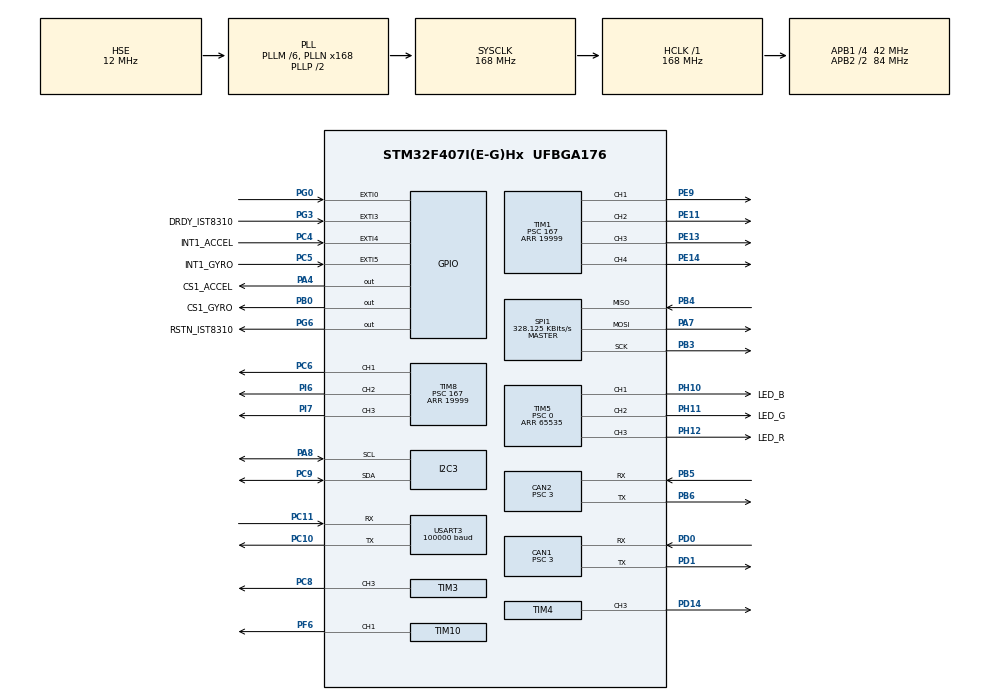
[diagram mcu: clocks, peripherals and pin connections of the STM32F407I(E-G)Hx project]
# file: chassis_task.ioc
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CAN1.BS1=CAN_BS1_10TQ
CAN1.BS2=CAN_BS2_3TQ
CAN1.CalculateBaudRate=1000000
CAN1.CalculateTimeBit=999.99
CAN1.CalculateTimeQuantum=71.42857142857143
CAN1.Prescaler=3
CAN2.BS1=CAN_BS1_10TQ
CAN2.BS2=CAN_BS2_3TQ
CAN2.CalculateBaudRate=1000000
CAN2.CalculateTimeBit=999.99
CAN2.CalculateTimeQuantum=71.42857142857143
CAN2.Prescaler=3
Dma.Request0=SPI1_RX
Dma.Request1=SPI1_TX
Dma.Request2=USART3_RX
Dma.SPI1_RX.0.Direction=DMA_PERIPH_TO_MEMORY
Dma.SPI1_RX.0.FIFOMode=DMA_FIFOMODE_DISABLE
Dma.SPI1_RX.0.Instance=DMA2_Stream2
Dma.SPI1_RX.0.MemDataAlignment=DMA_MDATAALIGN_BYTE
Dma.SPI1_RX.0.MemInc=DMA_MINC_ENABLE
Dma.SPI1_RX.0.Mode=DMA_NORMAL
Dma.SPI1_RX.0.PeriphDataAlignment=DMA_PDATAALIGN_BYTE
Dma.SPI1_RX.0.PeriphInc=DMA_PINC_DISABLE
Dma.SPI1_RX.0.Priority=DMA_PRIORITY_VERY_HIGH
Dma.SPI1_TX.1.Direction=DMA_MEMORY_TO_PERIPH
Dma.SPI1_TX.1.FIFOMode=DMA_FIFOMODE_DISABLE
Dma.SPI1_TX.1.Instance=DMA2_Stream3
Dma.SPI1_TX.1.MemDataAlignment=DMA_MDATAALIGN_BYTE
Dma.SPI1_TX.1.MemInc=DMA_MINC_ENABLE
Dma.SPI1_TX.1.Mode=DMA_NORMAL
Dma.SPI1_TX.1.PeriphDataAlignment=DMA_PDATAALIGN_BYTE
Dma.SPI1_TX.1.PeriphInc=DMA_PINC_DISABLE
Dma.SPI1_TX.1.Priority=DMA_PRIORITY_HIGH
Dma.USART3_RX.2.Direction=DMA_PERIPH_TO_MEMORY
Dma.USART3_RX.2.FIFOMode=DMA_FIFOMODE_DISABLE
Dma.USART3_RX.2.Instance=DMA1_Stream1
Dma.USART3_RX.2.MemDataAlignment=DMA_MDATAALIGN_BYTE
Dma.USART3_RX.2.MemInc=DMA_MINC_ENABLE
Dma.USART3_RX.2.Mode=DMA_NORMAL
Dma.USART3_RX.2.PeriphDataAlignment=DMA_PDATAALIGN_BYTE
Dma.USART3_RX.2.PeriphInc=DMA_PINC_DISABLE
Dma.USART3_RX.2.Priority=DMA_PRIORITY_HIGH
FREERTOS.INCLUDE_eTaskGetState=1
FREERTOS.INCLUDE_pcTaskGetTaskName=1
FREERTOS.INCLUDE_uxTaskGetStackHighWaterMark=1
FREERTOS.INCLUDE_vTaskCleanUpResources=1
FREERTOS.INCLUDE_vTaskDelayUntil=1
FREERTOS.INCLUDE_xEventGroupSetBitFromISR=1
FREERTOS.INCLUDE_xQueueGetMutexHolder=1
FREERTOS.INCLUDE_xSemaphoreGetMutexHolder=1
FREERTOS.INCLUDE_xTaskAbortDelay=1
FREERTOS.INCLUDE_xTaskGetCurrentTaskHandle=1
FREERTOS.INCLUDE_xTaskGetHandle=1
FREERTOS.INCLUDE_xTimerPendFunctionCall=1
FREERTOS.Tasks01=test,24,128,test_task,As weak,NULL,Dynamic,NULL,NULL
FREERTOS.configTOTAL_HEAP_SIZE=24576
I2C3.I2C_Mode=I2C_Fast
Mcu.Family=STM32F4
Mcu.Name=STM32F407I(E-G)Hx
Mcu.Package=UFBGA176
NVIC.CAN1_RX0_IRQn=true\:6\:0\:true\:false\:true\:true\:true\:true
NVIC.CAN2_RX0_IRQn=true\:6\:0\:true\:false\:true\:true\:true\:true
NVIC.DMA1_Stream1_IRQn=true\:5\:0\:true\:false\:false\:true\:false\:false
NVIC.DMA2_Stream2_IRQn=true\:5\:0\:true\:false\:false\:true\:false\:true
NVIC.DMA2_Stream3_IRQn=true\:5\:0\:true\:false\:false\:true\:false\:true
NVIC.EXTI0_IRQn=true\:6\:0\:true\:false\:true\:true\:true\:true
NVIC.EXTI3_IRQn=true\:5\:0\:true\:false\:true\:true\:true\:true
NVIC.EXTI4_IRQn=true\:5\:0\:true\:false\:true\:true\:true\:true
NVIC.EXTI9_5_IRQn=true\:5\:0\:true\:false\:true\:true\:true\:true
NVIC.PriorityGroup=NVIC_PRIORITYGROUP_4
NVIC.USART3_IRQn=true\:4\:0\:true\:false\:false\:false\:true\:true
PA13.Mode=Serial_Wire
PA13.Signal=SYS_JTMS-SWDIO
PA14.Mode=Serial_Wire
PA14.Signal=SYS_JTCK-SWCLK
PA4.GPIO_Label=CS1_ACCEL
PA4.GPIO_PuPd=GPIO_PULLUP
PA4.GPIO_Speed=GPIO_SPEED_FREQ_HIGH
PA4.PinState=GPIO_PIN_SET
PA4.Signal=GPIO_Output
PA7.GPIO_PuPd=GPIO_PULLUP
PA7.Mode=Full_Duplex_Master
PA7.Signal=SPI1_MOSI
PA8.Mode=I2C
PA8.Signal=I2C3_SCL
PB0.GPIO_Label=CS1_GYRO
PB0.GPIO_PuPd=GPIO_PULLUP
PB0.GPIO_Speed=GPIO_SPEED_FREQ_HIGH
PB0.PinState=GPIO_PIN_SET
PB0.Signal=GPIO_Output
PB3.GPIO_PuPd=GPIO_PULLUP
PB3.Mode=Full_Duplex_Master
PB3.Signal=SPI1_SCK
PB4.GPIO_PuPd=GPIO_PULLUP
PB4.Mode=Full_Duplex_Master
PB4.Signal=SPI1_MISO
PB5.Mode=CAN_Activate
PB5.Signal=CAN2_RX
PB6.Mode=CAN_Activate
PB6.Signal=CAN2_TX
PC10.Mode=Asynchronous
PC10.Signal=USART3_TX
PC11.Mode=Asynchronous
PC11.Signal=USART3_RX
PC4.GPIO_Label=INT1_ACCEL
PC4.GPIO_ModeDefaultEXTI=GPIO_MODE_IT_FALLING
PC4.GPIO_PuPd=GPIO_PULLUP
PC4.Signal=GPXTI4
PC5.GPIO_Label=INT1_GYRO
PC5.GPIO_ModeDefaultEXTI=GPIO_MODE_IT_FALLING
PC5.GPIO_PuPd=GPIO_PULLUP
PC5.Signal=GPXTI5
PC6.Signal=S_TIM8_CH1
PC8.GPIO_PuPd=GPIO_PULLUP
PC8.GPIO_Speed=GPIO_SPEED_FREQ_HIGH
PC8.Signal=S_TIM3_CH3
PC9.Mode=I2C
PC9.Signal=I2C3_SDA
PD0.Mode=CAN_Activate
PD0.Signal=CAN1_RX
PD1.Mode=CAN_Activate
PD1.Signal=CAN1_TX
PD14.GPIO_PuPd=GPIO_PULLUP
PD14.GPIO_Speed=GPIO_SPEED_FREQ_HIGH
PD14.Signal=S_TIM4_CH3
PE11.Signal=S_TIM1_CH2
PE13.Signal=S_TIM1_CH3
PE14.Signal=S_TIM1_CH4
PE9.Signal=S_TIM1_CH1
PF6.GPIO_PuPd=GPIO_PULLUP
PF6.GPIO_Speed=GPIO_SPEED_FREQ_HIGH
PF6.Signal=S_TIM10_CH1
PG0.GPIO_ModeDefaultEXTI=GPIO_MODE_IT_FALLING
PG0.GPIO_PuPd=GPIO_PULLUP
PG0.Signal=GPXTI0
PG3.GPIO_Label=DRDY_IST8310
PG3.GPIO_ModeDefaultEXTI=GPIO_MODE_IT_FALLING
PG3.GPIO_PuPd=GPIO_PULLUP
PG3.Signal=GPXTI3
PG6.GPIO_Label=RSTN_IST8310
PG6.GPIO_PuPd=GPIO_PULLUP
PG6.GPIO_Speed=GPIO_SPEED_FREQ_MEDIUM
PG6.PinState=GPIO_PIN_SET
PG6.Signal=GPIO_Output
PH0-OSC_IN.Mode=HSE-External-Oscillator
PH0-OSC_IN.Signal=RCC_OSC_IN
PH1-OSC_OUT.Mode=HSE-External-Oscillator
PH1-OSC_OUT.Signal=RCC_OSC_OUT
PH10.GPIO_Label=LED_B
PH10.GPIO_PuPd=GPIO_PULLUP
PH10.GPIO_Speed=GPIO_SPEED_FREQ_HIGH
PH10.Signal=S_TIM5_CH1
PH11.GPIO_Label=LED_G
PH11.GPIO_PuPd=GPIO_PULLUP
PH11.GPIO_Speed=GPIO_SPEED_FREQ_HIGH
PH11.Signal=S_TIM5_CH2
PH12.GPIO_Label=LED_R
PH12.GPIO_PuPd=GPIO_PULLUP
PH12.GPIO_Speed=GPIO_SPEED_FREQ_HIGH
PH12.Signal=S_TIM5_CH3
PI6.Signal=S_TIM8_CH2
PI7.Signal=S_TIM8_CH3
ProjectManager.HeapSize=0x2000
ProjectManager.StackSize=0x2000
ProjectManager.TargetToolchain=MDK-ARM V5
RCC.48MHZClocksFreq_Value=48000000
RCC.AHBFreq_Value=168000000
RCC.APB1CLKDivider=RCC_HCLK_DIV4
RCC.APB1Freq_Value=42000000
RCC.APB1TimFreq_Value=84000000
RCC.APB2CLKDivider=RCC_HCLK_DIV2
RCC.APB2Freq_Value=84000000
RCC.APB2TimFreq_Value=168000000
RCC.CortexFreq_Value=168000000
RCC.HCLKFreq_Value=168000000
RCC.HSE_VALUE=12000000
RCC.HSI_VALUE=16000000
RCC.LSE_VALUE=32768
RCC.PLLM=6
RCC.PLLN=168
RCC.PLLQ=7
RCC.PLLSourceVirtual=RCC_PLLSOURCE_HSE
RCC.RCC_RTC_Clock_SourceVirtual=RCC_RTCCLKSOURCE_HSE_DIV30
RCC.RCC_RTC_Clock_Source_FROM_HSE=RCC_RTCCLKSOURCE_HSE_DIV30
RCC.SYSCLKFreq_VALUE=168000000
RCC.SYSCLKSource=RCC_SYSCLKSOURCE_PLLCLK
RCC.VCOOutputFreq_Value=336000000
RTC.AsynchPrediv=124
RTC.SynchPrediv=3199
SH.S_TIM10_CH1.0=TIM10_CH1,PWM Generation1 CH1
SH.S_TIM1_CH1.0=TIM1_CH1,PWM Generation1 CH1
SH.S_TIM1_CH2.0=TIM1_CH2,PWM Generation2 CH2
SH.S_TIM1_CH3.0=TIM1_CH3,PWM Generation3 CH3
SH.S_TIM1_CH4.0=TIM1_CH4,PWM Generation4 CH4
SH.S_TIM3_CH3.0=TIM3_CH3,PWM Generation3 CH3
SH.S_TIM4_CH3.0=TIM4_CH3,PWM Generation3 CH3
SH.S_TIM5_CH1.0=TIM5_CH1,PWM Generation1 CH1
SH.S_TIM5_CH2.0=TIM5_CH2,PWM Generation2 CH2
SH.S_TIM5_CH3.0=TIM5_CH3,PWM Generation3 CH3
SH.S_TIM8_CH1.0=TIM8_CH1,PWM Generation1 CH1
SH.S_TIM8_CH2.0=TIM8_CH2,PWM Generation2 CH2
SH.S_TIM8_CH3.0=TIM8_CH3,PWM Generation3 CH3
SPI1.BaudRatePrescaler=SPI_BAUDRATEPRESCALER_256
SPI1.CLKPhase=SPI_PHASE_2EDGE
SPI1.CLKPolarity=SPI_POLARITY_HIGH
SPI1.CalculateBaudRate=328.125 KBits/s
SPI1.Direction=SPI_DIRECTION_2LINES
SPI1.Mode=SPI_MODE_MASTER
SPI1.VirtualType=VM_MASTER
TIM1.Channel-PWM\ Generation1\ CH1=TIM_CHANNEL_1
TIM1.Channel-PWM\ Generation2\ CH2=TIM_CHANNEL_2
TIM1.Channel-PWM\ Generation3\ CH3=TIM_CHANNEL_3
TIM1.Channel-PWM\ Generation4\ CH4=TIM_CHANNEL_4
TIM1.Period=19999
TIM1.Prescaler=167
TIM1.Pulse-PWM\ Generation1\ CH1=2000
TIM10.Channel=TIM_CHANNEL_1
TIM10.Period=4999
TIM3.Channel-PWM\ Generation3\ CH3=TIM_CHANNEL_3
TIM3.Period=8399
TIM4.Channel-PWM\ Generation3\ CH3=TIM_CHANNEL_3
TIM4.Period=65535
TIM4.Prescaler=167
TIM5.Channel-PWM\ Generation1\ CH1=TIM_CHANNEL_1
TIM5.Channel-PWM\ Generation2\ CH2=TIM_CHANNEL_2
TIM5.Channel-PWM\ Generation3\ CH3=TIM_CHANNEL_3
TIM5.Period=65535
TIM5.Prescaler=0
TIM8.Channel-PWM\ Generation1\ CH1=TIM_CHANNEL_1
TIM8.Channel-PWM\ Generation2\ CH2=TIM_CHANNEL_2
TIM8.Channel-PWM\ Generation3\ CH3=TIM_CHANNEL_3
TIM8.Period=19999
TIM8.Prescaler=167
USART3.BaudRate=100000
USART3.Parity=PARITY_EVEN
USART3.VirtualMode=VM_ASYNC
VP_FREERTOS_VS_CMSIS_V1.Mode=CMSIS_V1
VP_RTC_VS_RTC_Activate.Mode=RTC_Enabled
VP_TIM10_VS_ClockSourceINT.Mode=Enable_Timer
VP_TIM1_VS_ClockSourceINT.Mode=Internal
VP_TIM3_VS_ClockSourceINT.Mode=Internal
VP_TIM4_VS_ClockSourceINT.Mode=Internal
VP_TIM5_VS_ClockSourceINT.Mode=Internal
VP_TIM8_VS_ClockSourceINT.Mode=Internal
board=custom

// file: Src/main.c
/* USER CODE BEGIN Header */
/**
  ******************************************************************************
  * @file           : main.c
  * @brief          : Main program body
  ******************************************************************************
  * @attention
  *
  * <h2><center>&copy; Copyright (c) 2019 STMicroelectronics.
  * All rights reserved.</center></h2>
  *
  * This software component is licensed by ST under Ultimate Liberty license
  * SLA0044, the "License"; You may not use this file except in compliance with
  * the License. You may obtain a copy of the License at:
  *                             www.st.com/SLA0044
  *
  ******************************************************************************
  */
/* USER CODE END Header */
#include "main.h"
#include "cmsis_os.h"
#include "can.h"
#include "dma.h"
#include "i2c.h"
#include "rtc.h"
#include "spi.h"
#include "tim.h"
#include "usart.h"
#include "gpio.h"

/* USER CODE BEGIN Includes */
#include "bsp_can.h"
#include "bsp_delay.h"
#include "remote_control.h"

#include "calibrate_task.h"
#include "chassis_task.h"
#include "detect_task.h"
#include "INS_task.h"
#include "led_flow_task.h"
/* USER CODE END Includes */

void SystemClock_Config(void);
void MX_FREERTOS_Init(void);

int main(void)
{

  /* MCU Configuration--------------------------------------------------------*/

  /* Reset of all peripherals, Initializes the Flash interface and the Systick. */
  HAL_Init();

  /* Configure the system clock */
  SystemClock_Config();

  /* Initialize all configured peripherals */
  MX_GPIO_Init();
  MX_DMA_Init();
  MX_CAN1_Init();
  MX_CAN2_Init();
  MX_SPI1_Init();
  MX_TIM4_Init();
  MX_TIM5_Init();
  MX_USART3_UART_Init();
  MX_TIM8_Init();
  MX_I2C3_Init();
  MX_RTC_Init();
  MX_TIM3_Init();
  MX_TIM10_Init();
  MX_TIM1_Init();
  /* USER CODE BEGIN 2 */
    can_filter_init();
    delay_init();
    cali_param_init();
    remote_control_init();

		HAL_TIM_Base_Start(&htim1);
    HAL_TIM_PWM_Start(&htim1, TIM_CHANNEL_1);
		HAL_TIM_Base_Start(&htim8);
		HAL_TIM_PWM_Start(&htim8, TIM_CHANNEL_1);
		HAL_TIM_PWM_Start(&htim8, TIM_CHANNEL_2);
		fric_off();
  /* USER CODE END 2 */

  /* Call init function for freertos objects (in freertos.c) */
  MX_FREERTOS_Init();
  /* Start scheduler */
  osKernelStart();

  /* We should never get here as control is now taken by the scheduler */
  /* Infinite loop */
  while (1)
  {

  }
}

void SystemClock_Config(void)
{
  RCC_OscInitTypeDef RCC_OscInitStruct = {0};
  RCC_ClkInitTypeDef RCC_ClkInitStruct = {0};
  RCC_PeriphCLKInitTypeDef PeriphClkInitStruct = {0};

  /** Configure the main internal regulator output voltage
  */
  __HAL_RCC_PWR_CLK_ENABLE();
  __HAL_PWR_VOLTAGESCALING_CONFIG(PWR_REGULATOR_VOLTAGE_SCALE1);
  /** Initializes the RCC Oscillators according to the specified parameters
  * in the RCC_OscInitTypeDef structure.
  */
  RCC_OscInitStruct.OscillatorType = RCC_OSCILLATORTYPE_HSE;
  RCC_OscInitStruct.HSEState = RCC_HSE_ON;
  RCC_OscInitStruct.PLL.PLLState = RCC_PLL_ON;
  RCC_OscInitStruct.PLL.PLLSource = RCC_PLLSOURCE_HSE;
  RCC_OscInitStruct.PLL.PLLM = 6;
  RCC_OscInitStruct.PLL.PLLN = 168;
  RCC_OscInitStruct.PLL.PLLP = RCC_PLLP_DIV2;
  RCC_OscInitStruct.PLL.PLLQ = 7;
  if (HAL_RCC_OscConfig(&RCC_OscInitStruct) != HAL_OK)
  {
    Error_Handler();
  }
  /** Initializes the CPU, AHB and APB buses clocks
  */
  RCC_ClkInitStruct.ClockType = RCC_CLOCKTYPE_HCLK|RCC_CLOCKTYPE_SYSCLK
                              |RCC_CLOCKTYPE_PCLK1|RCC_CLOCKTYPE_PCLK2;
  RCC_ClkInitStruct.SYSCLKSource = RCC_SYSCLKSOURCE_PLLCLK;
  RCC_ClkInitStruct.AHBCLKDivider = RCC_SYSCLK_DIV1;
  RCC_ClkInitStruct.APB1CLKDivider = RCC_HCLK_DIV4;
  RCC_ClkInitStruct.APB2CLKDivider = RCC_HCLK_DIV2;

  if (HAL_RCC_ClockConfig(&RCC_ClkInitStruct, FLASH_LATENCY_5) != HAL_OK)
  {
    Error_Handler();
  }
  PeriphClkInitStruct.PeriphClockSelection = RCC_PERIPHCLK_RTC;
  PeriphClkInitStruct.RTCClockSelection = RCC_RTCCLKSOURCE_HSE_DIV30;
  if (HAL_RCCEx_PeriphCLKConfig(&PeriphClkInitStruct) != HAL_OK)
  {
    Error_Handler();
  }
}

void Error_Handler(void)
{
}

/************************ (C) COPYRIGHT STMicroelectronics *****END OF FILE****/

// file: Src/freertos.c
/* USER CODE BEGIN Header */
/**
  ******************************************************************************
  * File Name          : freertos.c
  * Description        : Code for freertos applications
  ******************************************************************************
  * @attention
  *
  * <h2><center>&copy; Copyright (c) 2019 STMicroelectronics.
  * All rights reserved.</center></h2>
  *
  * This software component is licensed by ST under Ultimate Liberty license
  * SLA0044, the "License"; You may not use this file except in compliance with
  * the License. You may obtain a copy of the License at:
  *                             www.st.com/SLA0044
  *
  ******************************************************************************
  */
/* USER CODE END Header */

#include "FreeRTOS.h"
#include "task.h"
#include "main.h"
#include "cmsis_os.h"

/* USER CODE BEGIN Includes */

#include "calibrate_task.h"
#include "chassis_task.h"
#include "detect_task.h"
#include "INS_task.h"
#include "led_flow_task.h"

/* USER CODE END Includes */

/* USER CODE BEGIN PTD */

osThreadId calibrate_tast_handle;
osThreadId chassisTaskHandle;
osThreadId detect_handle;
osThreadId imuTaskHandle;
osThreadId led_RGB_flow_handle;

/* USER CODE END PTD */

osThreadId testHandle;

void test_task(void const * argument);

void MX_FREERTOS_Init(void); /* (MISRA C 2004 rule 8.1) */

/* GetIdleTaskMemory prototype (linked to static allocation support) */
void vApplicationGetIdleTaskMemory( StaticTask_t **ppxIdleTaskTCBBuffer, StackType_t **ppxIdleTaskStackBuffer, uint32_t *pulIdleTaskStackSize );

/* GetTimerTaskMemory prototype (linked to static allocation support) */
void vApplicationGetTimerTaskMemory( StaticTask_t **ppxTimerTaskTCBBuffer, StackType_t **ppxTimerTaskStackBuffer, uint32_t *pulTimerTaskStackSize );

/* USER CODE BEGIN GET_IDLE_TASK_MEMORY */
static StaticTask_t xIdleTaskTCBBuffer;
static StackType_t xIdleStack[configMINIMAL_STACK_SIZE];

void vApplicationGetIdleTaskMemory( StaticTask_t **ppxIdleTaskTCBBuffer, StackType_t **ppxIdleTaskStackBuffer, uint32_t *pulIdleTaskStackSize )
{
  *ppxIdleTaskTCBBuffer = &xIdleTaskTCBBuffer;
  *ppxIdleTaskStackBuffer = &xIdleStack[0];
  *pulIdleTaskStackSize = configMINIMAL_STACK_SIZE;
  /* place for user code */
}
/* USER CODE END GET_IDLE_TASK_MEMORY */

/* USER CODE BEGIN GET_TIMER_TASK_MEMORY */
static StaticTask_t xTimerTaskTCBBuffer;
static StackType_t xTimerStack[configTIMER_TASK_STACK_DEPTH];

void vApplicationGetTimerTaskMemory( StaticTask_t **ppxTimerTaskTCBBuffer, StackType_t **ppxTimerTaskStackBuffer, uint32_t *pulTimerTaskStackSize )
{
  *ppxTimerTaskTCBBuffer = &xTimerTaskTCBBuffer;
  *ppxTimerTaskStackBuffer = &xTimerStack[0];
  *pulTimerTaskStackSize = configTIMER_TASK_STACK_DEPTH;
  /* place for user code */
}
/* USER CODE END GET_TIMER_TASK_MEMORY */

void MX_FREERTOS_Init(void) {

  /* Create the thread(s) */
  /* definition and creation of test */
  osThreadDef(test, test_task, osPriorityNormal, 0, 128);
  testHandle = osThreadCreate(osThread(test), NULL);

  /* USER CODE BEGIN RTOS_THREADS */
  /* add threads, ... */
//    osThreadDef(cali, calibrate_task, osPriorityNormal, 0, 512);
//    calibrate_tast_handle = osThreadCreate(osThread(cali), NULL);

    osThreadDef(ChassisTask, chassis_task, osPriorityAboveNormal, 0, 512);
    chassisTaskHandle = osThreadCreate(osThread(ChassisTask), NULL);

    //osThreadDef(DETECT, detect_task, osPriorityNormal, 0, 256);
    //detect_handle = osThreadCreate(osThread(DETECT), NULL);

//    osThreadDef(imuTask, INS_task, osPriorityRealtime, 0, 1024);
//    imuTaskHandle = osThreadCreate(osThread(imuTask), NULL);

//    osThreadDef(led, led_RGB_flow_task, osPriorityNormal, 0, 256);
//    led_RGB_flow_handle = osThreadCreate(osThread(led), NULL);

  /* USER CODE END RTOS_THREADS */

}

__weak void test_task(void const * argument)
{
  for(;;)
  {
    osDelay(1);
  }
}

/************************ (C) COPYRIGHT STMicroelectronics *****END OF FILE****/
